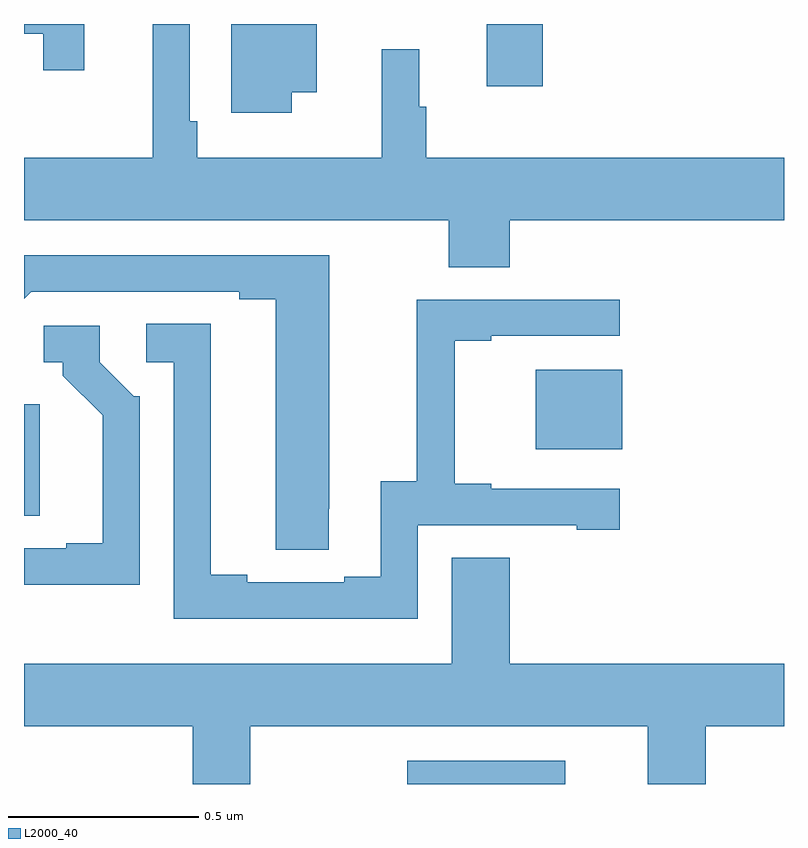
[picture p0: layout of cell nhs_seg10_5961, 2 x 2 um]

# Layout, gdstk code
import gdstk
lib = gdstk.Library(unit=1e-6, precision=1e-09)
def R(c, l, rs):  # rectangles x0, y0, x1, y1
    for r in rs: c.add(gdstk.rectangle(r[:2], r[2:], *l))
def P(c, l, *ps):  # polygons
    for p in ps: c.add(gdstk.Polygon(p, *l))
L2000_40 = (2000, 40)

nhs_seg10_5961 = lib.new_cell('nhs_seg10_5961')
R(nhs_seg10_5961, L2000_40, [(186.008,1297.5,186.424,1297.561), (185,1298.206,185.041,1298.5), (186.347,1298.381,186.574,1298.59), (186.218,1299.336,186.365,1299.5)])
P(nhs_seg10_5961, L2000_40, [(186.278,1298.984),(187,1298.984),(187,1299.148),(186.059,1299.148),(186.059,1299.282),(186.04,1299.282),(186.04,1299.433),(185.941,1299.433),(185.941,1299.148),(185.456,1299.148),(185.456,1299.244),(185.436,1299.244),(185.436,1299.5),(185.339,1299.5),(185.339,1299.148),(185,1299.148),(185,1298.984),(186.118,1298.984),(186.118,1298.86),(186.278,1298.86)],
  [(185.704,1299.32),(185.77,1299.32),(185.77,1299.5),(185.546,1299.5),(185.546,1299.267),(185.704,1299.267)],
  [(185.159,1299.5),(185,1299.5),(185,1299.474),(185.05,1299.474),(185.05,1299.378),(185.159,1299.378)],
  [(185.802,1298.224),(185.803,1298.224),(185.803,1298.892),(185,1298.892),(185,1298.777),(185.019,1298.796),(185.567,1298.796),(185.567,1298.776),(185.663,1298.776),(185.663,1298.116),(185.802,1298.116)],
  [(186.036,1298.181),(186.455,1298.181),(186.455,1298.169),(186.568,1298.169),(186.568,1298.277),(186.229,1298.277),(186.229,1298.29),(186.134,1298.29),(186.134,1298.667),(186.229,1298.667),(186.229,1298.679),(186.568,1298.679),(186.568,1298.775),(186.034,1298.775),(186.034,1298.297),(185.939,1298.297),(185.939,1298.046),(185.843,1298.046),(185.843,1298.031),(185.587,1298.031),(185.587,1298.051),(185.491,1298.051),(185.491,1298.711),(185.322,1298.711),(185.322,1298.61),(185.394,1298.61),(185.394,1297.935),(186.036,1297.935)],
  [(185.304,1298.52),(185.289,1298.52),(185.199,1298.61),(185.199,1298.706),(185.052,1298.706),(185.052,1298.61),(185.102,1298.61),(185.102,1298.575),(185.207,1298.47),(185.207,1298.134),(185.111,1298.134),(185.111,1298.121),(185,1298.121),(185,1298.025),(185.041,1298.025),(185.041,1298.024),(185.304,1298.024)],
  [(186.278,1298.096),(186.125,1298.096),(186.125,1297.816),(185,1297.816),(185,1297.652),(185.444,1297.652),(185.444,1297.5),(185.596,1297.5),(185.596,1297.652),(186.641,1297.652),(186.641,1297.5),(186.794,1297.5),(186.794,1297.652),(187,1297.652),(187,1297.816),(186.278,1297.816)])

lib.write_gds('nhs_seg10_5961.gds')
